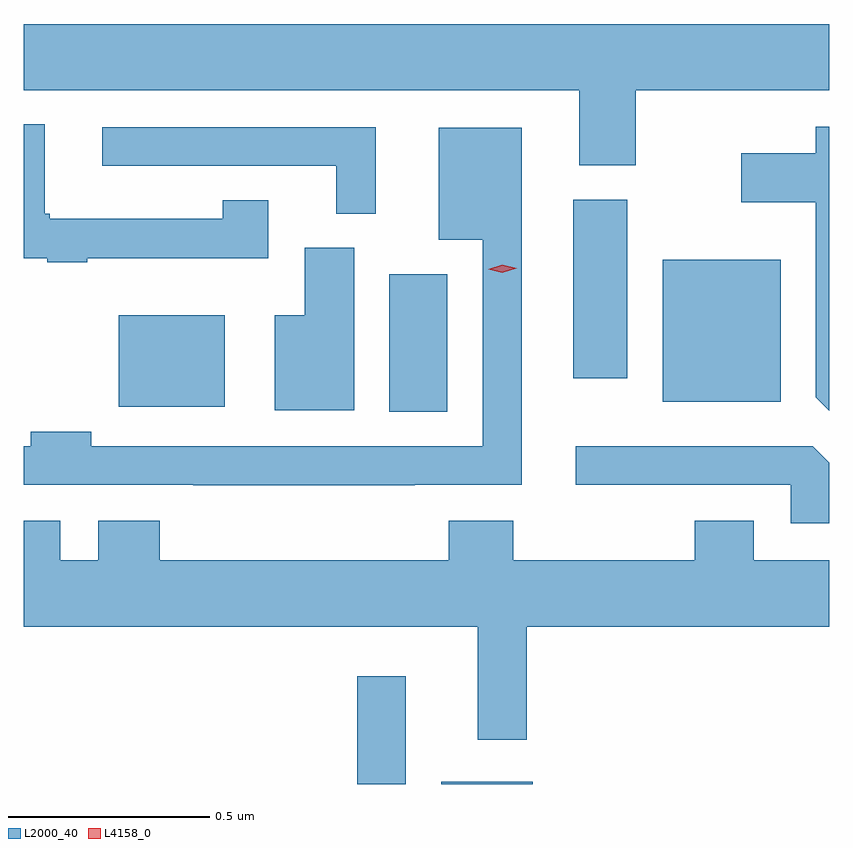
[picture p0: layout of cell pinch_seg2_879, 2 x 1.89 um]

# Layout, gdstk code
import gdstk
lib = gdstk.Library(unit=1e-6, precision=1e-09)
def R(c, l, rs):  # rectangles x0, y0, x1, y1
    for r in rs: c.add(gdstk.rectangle(r[:2], r[2:], *l))
def P(c, l, *ps):  # polygons
    for p in ps: c.add(gdstk.Polygon(p, *l))
L2000_40 = (2000, 40)
L4158_0 = (4158, 0)

pinch_seg2_879 = lib.new_cell('pinch_seg2_879')
R(pinch_seg2_879, L2000_40, [(578.634,584.641,578.755,584.908), (578.843,584.641,579.07,584.647), (578.714,585.565,578.857,585.907), (578.042,585.578,578.305,585.805), (579.392,585.59,579.685,585.943), (579.17,585.648,579.304,586.092)])
P(pinch_seg2_879, L2000_40, [(579.325,586.364),(579.806,586.364),(579.806,586.528),(577.806,586.528),(577.806,586.364),(579.185,586.364),(579.185,586.177),(579.325,586.177)],
  [(577.964,585.947),(578.413,585.947),(578.413,586.091),(578.3,586.091),(578.3,586.045),(577.87,586.045),(577.87,586.057),(577.858,586.057),(577.858,586.279),(577.806,586.279),(577.806,585.947),(577.864,585.947),(577.864,585.936),(577.964,585.936)],
  [(579.806,586.273),(579.773,586.273),(579.773,586.207),(579.588,586.207),(579.588,586.085),(579.773,586.085),(579.773,585.601),(579.806,585.568)],
  [(578.68,586.272),(578.001,586.272),(578.001,586.176),(578.582,586.176),(578.582,586.057),(578.68,586.057)],
  [(578.777,585.384),(579.042,585.384),(579.042,586.27),(578.837,586.27),(578.837,585.992),(578.946,585.992),(578.946,585.48),(577.974,585.48),(577.974,585.516),(577.824,585.516),(577.824,585.48),(577.806,585.48),(577.806,585.384),(578.227,585.384),(578.227,585.383),(578.777,585.383)],
  [(578.626,585.972),(578.504,585.972),(578.504,585.805),(578.429,585.805),(578.429,585.569),(578.626,585.569)],
  [(579.806,585.439),(579.765,585.48),(579.177,585.48),(579.177,585.384),(579.711,585.384),(579.711,585.288),(579.806,585.288)],
  [(579.055,585.032),(579.806,585.032),(579.806,585.196),(579.619,585.196),(579.619,585.295),(579.472,585.295),(579.472,585.196),(579.021,585.196),(579.021,585.295),(578.861,585.295),(578.861,585.196),(578.144,585.196),(578.144,585.295),(577.991,585.295),(577.991,585.196),(577.897,585.196),(577.897,585.295),(577.806,585.295),(577.806,585.032),(578.933,585.032),(578.933,584.751),(579.055,584.751)])
P(pinch_seg2_879, L4158_0, [(578.994,585.91),(578.959,585.919),(578.958,585.919),(578.959,585.919),(578.994,585.93),(579.03,585.922),(579.03,585.921),(579.03,585.921)])

lib.write_gds('pinch_seg2_879.gds')
